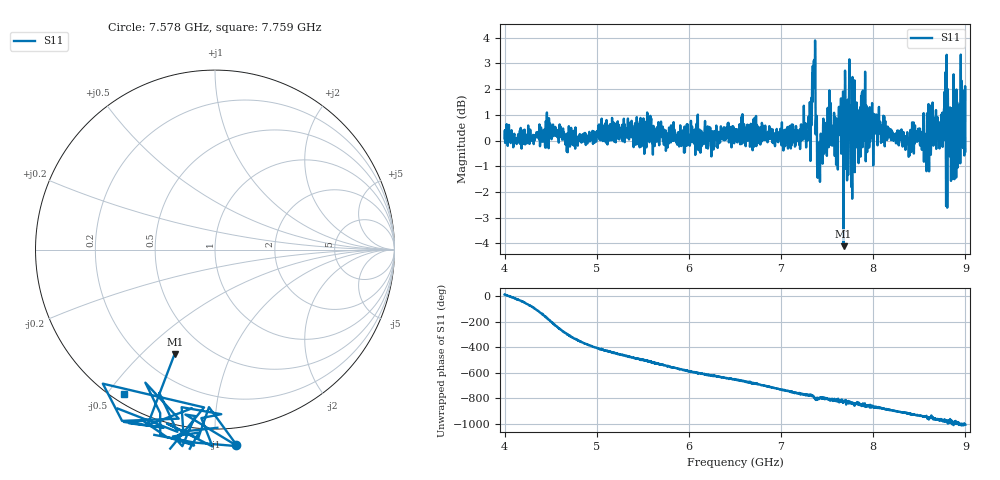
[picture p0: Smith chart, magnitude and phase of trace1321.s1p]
! Created with skrf 1.8.0 (http://scikit-rf.org).
# Hz S RI R 50.0
!freq ReS11 ImS11
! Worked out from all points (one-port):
!   1601 points, 4 GHz to 9 GHz, reference 50 ohm
!   lowest |S11| = -4.1 dB at 7.678 GHz (marker M1), VSWR 4.31, Z = 16.6 - j31.6 ohm
!   |S11| at or under -10 dB: nowhere
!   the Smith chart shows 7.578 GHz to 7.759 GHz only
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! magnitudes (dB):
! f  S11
! 4 GHz  0.1
! 4.625 GHz  0.0
! 5.25 GHz  0.3
! 5.875 GHz  -0.2
! 6.5 GHz  0.3
! 7.125 GHz  0.4
! 7.297 GHz  0.9
! 7.347 GHz  2.0
! 7.362 GHz  3.1
! 7.4 GHz  -0.3
! 7.416 GHz  -1.4
! 7.525 GHz  2.0
! 7.591 GHz  0.6
! 7.65 GHz  1.6
! 7.678 GHz  -4.1
! 7.703 GHz  -1.1
! 7.716 GHz  -1.5
! 7.75 GHz  0.7
! 7.825 GHz  0.0
! 7.891 GHz  0.4
! 7.941 GHz  1.2
! 8.375 GHz  -0.1
! 8.584 GHz  1.1
! 8.656 GHz  0.9
! 8.759 GHz  0.6
! 8.869 GHz  -0.2
! 8.956 GHz  0.4
! 9 GHz  -0.4
